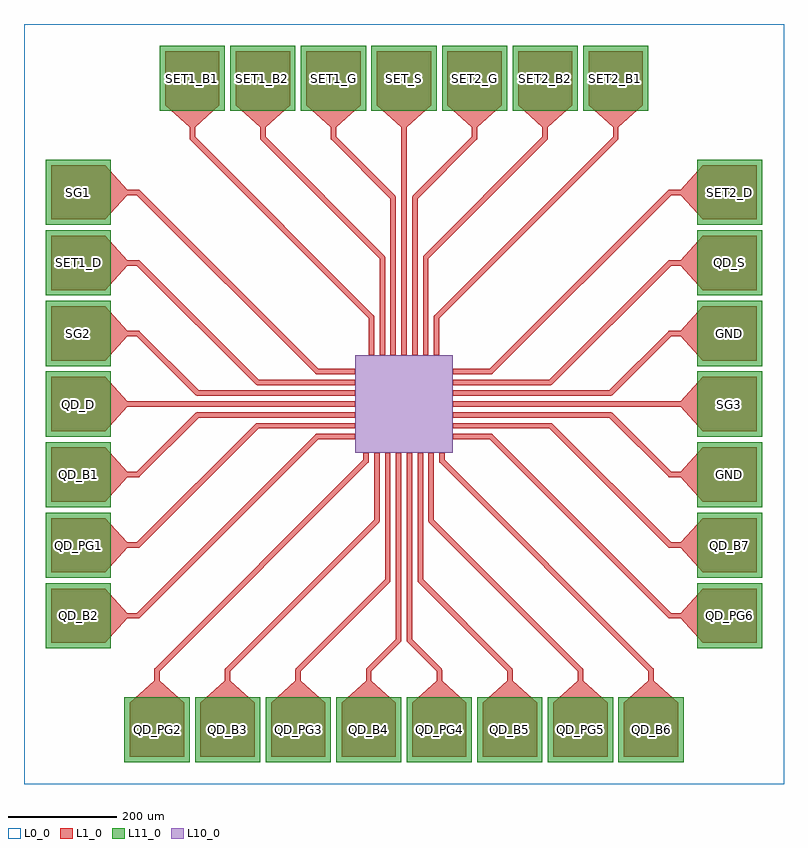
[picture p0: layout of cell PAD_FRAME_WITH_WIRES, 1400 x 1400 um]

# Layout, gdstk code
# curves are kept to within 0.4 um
import gdstk
lib = gdstk.Library(unit=1e-6, precision=1e-09)
def R(c, l, rs):  # rectangles x0, y0, x1, y1
    for r in rs: c.add(gdstk.rectangle(r[:2], r[2:], *l))
def A(c, l, x, y, w, h, nx, ny, dx, dy):  # array of equal rectangles
    R(c, l, [(x+i*dx, y+j*dy, x+i*dx+w, y+j*dy+h) for i in range(nx) for j in range(ny)])
def P(c, l, *ps):  # polygons
    for p in ps: c.add(gdstk.Polygon(p, *l))
L0_0 = (0, 0)
L1_0 = (1, 0)
L10_0 = (10, 0)
L11_0 = (11, 0)

pad_frame_with_wires = lib.new_cell('PAD_FRAME_WITH_WIRES')
R(pad_frame_with_wires, L0_0, [(0,0,1400,1400)])
A(pad_frame_with_wires, L1_0, 195, 50, 100, 100, 8, 1, 130, 0)
A(pad_frame_with_wires, L1_0, 50, 260, 100, 100, 1, 7, 0, 130)
A(pad_frame_with_wires, L1_0, 1250, 260, 100, 100, 1, 7, 0, 130)
A(pad_frame_with_wires, L1_0, 260, 1250, 100, 100, 7, 1, 130, 0)
P(pad_frame_with_wires, L1_0, [(260,1250),(360,1250),(315,1210),(305,1210)],
  [(390,1250),(490,1250),(445,1210),(435,1210)],
  [(520,1250),(620,1250),(575,1210),(565,1210)],
  [(650,1250),(750,1250),(705,1210),(695,1210)],
  [(780,1250),(880,1250),(835,1210),(825,1210)],
  [(910,1250),(1010,1250),(965,1210),(955,1210)],
  [(1040,1250),(1140,1250),(1095,1210),(1085,1210)],
  [(195,150),(295,150),(250,190),(240,190)],
  [(325,150),(425,150),(380,190),(370,190)],
  [(455,150),(555,150),(510,190),(500,190)],
  [(585,150),(685,150),(640,190),(630,190)],
  [(715,150),(815,150),(770,190),(760,190)],
  [(845,150),(945,150),(900,190),(890,190)],
  [(975,150),(1075,150),(1030,190),(1020,190)],
  [(1105,150),(1205,150),(1160,190),(1150,190)],
  [(150,1040),(150,1140),(190,1095),(190,1085)],
  [(150,910),(150,1010),(190,965),(190,955)],
  [(150,780),(150,880),(190,835),(190,825)],
  [(150,650),(150,750),(190,705),(190,695)],
  [(150,520),(150,620),(190,575),(190,565)],
  [(150,390),(150,490),(190,445),(190,435)],
  [(150,260),(150,360),(190,315),(190,305)],
  [(1250,1040),(1250,1140),(1210,1095),(1210,1085)],
  [(1250,910),(1250,1010),(1210,965),(1210,955)],
  [(1250,780),(1250,880),(1210,835),(1210,825)],
  [(1250,650),(1250,750),(1210,705),(1210,695)],
  [(1250,520),(1250,620),(1210,575),(1210,565)],
  [(1250,390),(1250,490),(1210,445),(1210,435)],
  [(1250,260),(1250,360),(1210,315),(1210,305)],
  [(315,1210),(305,1210),(305,1190),(306.464,1186.464),(635,857.929),(635,790),(645,790),(645,860),(643.967,863.044),(315,1192.071)],
  [(445,1210),(435,1210),(435,1190),(436.033,1186.956),(655,967.929),(655,790),(665,790),(665,970),(664.33,972.5),(445,1192.071)],
  [(575,1210),(565,1210),(565,1190),(566.033,1186.956),(675,1077.929),(675,790),(685,790),(684.83,1081.294),(683.536,1083.536),(575,1192.071)],
  [(705,1210),(695,1210),(695,1190),(695,1190),(695,1190),(695,1190),(695,790),(705,790),(705,1190),(705,1190),(705,1190),(705,1190)],
  [(835,1210),(825,1210),(825,1192.071),(716.464,1083.536),(715.17,1081.294),(715,790),(725,790),(725,1077.929),(833.967,1186.956),(835,1190)],
  [(965,1210),(955,1210),(955,1192.071),(735.67,972.5),(735,970),(735,790),(745,790),(745,967.929),(963.536,1186.464),(965,1190)],
  [(1095,1210),(1085,1210),(1085,1192.071),(756.033,863.044),(755,860),(755,790),(765,790),(765,857.929),(1093.536,1186.464),(1095,1190)],
  [(240,190),(250,190),(250,207.929),(633.536,591.464),(634.957,594.347),(635,610),(625,610),(625,597.071),(241.464,213.536),(240,210)],
  [(370,190),(380,190),(380,207.929),(653.967,481.956),(655,485),(655,610),(645,610),(645,487.071),(371.464,213.536),(370,210)],
  [(500,190),(510,190),(510,207.929),(674.619,373.087),(675,610),(665,610),(665,377.071),(501.464,213.536),(500,210)],
  [(630,190),(640,190),(640,207.929),(693.536,261.464),(694.957,264.347),(695,610),(685,610),(685,267.071),(631.033,213.044),(630,210)],
  [(760,190),(770,190),(770,210),(769.33,212.5),(715,267.071),(715,610),(705,610),(705.043,264.347),(706.464,261.464),(760,207.929)],
  [(890,190),(900,190),(900,210),(898.967,213.044),(735,377.071),(735,610),(725,610),(725.381,373.087),(890,207.929)],
  [(1020,190),(1030,190),(1030,210),(1028.536,213.536),(755,487.071),(755,610),(745,610),(745,485),(745.67,482.5),(1020,207.929)],
  [(1150,190),(1160,190),(1160,210),(1158.536,213.536),(775,597.071),(775,610),(765,610),(765.043,594.347),(766.464,591.464),(1150,207.929)],
  [(190,1095),(190,1085),(207.929,1085),(536.956,756.033),(540,755),(610,755),(610,765),(542.071,765),(213.536,1093.536),(210,1095)],
  [(190,965),(190,955),(207.929,955),(427.5,735.67),(430,735),(610,735),(610,745),(432.071,745),(213.536,963.536),(210,965)],
  [(190,835),(190,825),(207.929,825),(316.464,716.464),(318.706,715.17),(610,715),(610,725),(322.071,725),(213.044,833.967),(210,835)],
  [(190,705),(190,695),(210,695),(210,695),(210,695),(210,695),(610,695),(610,705),(210,705),(210,705),(210,705),(210,705)],
  [(190,575),(190,565),(210,565),(213.044,566.033),(322.071,675),(610,675),(610,685),(318.706,684.83),(316.464,683.536),(207.929,575)],
  [(190,445),(190,435),(210,435),(213.044,436.033),(432.071,655),(610,655),(610,665),(430,665),(427.5,664.33),(207.929,445)],
  [(190,315),(190,305),(210,305),(213.536,306.464),(542.071,635),(610,635),(610,645),(540,645),(536.956,643.967),(207.929,315)],
  [(1210,1085),(1210,1095),(1190,1095),(1186.464,1093.536),(857.929,765),(790,765),(790,755),(860,755),(863.044,756.033),(1192.071,1085)],
  [(1210,955),(1210,965),(1190,965),(1186.956,963.967),(967.929,745),(790,745),(790,735),(970,735),(972.5,735.67),(1192.071,955)],
  [(1210,825),(1210,835),(1190,835),(1186.956,833.967),(1077.929,725),(790,725),(790,715),(1081.294,715.17),(1083.536,716.464),(1192.071,825)],
  [(1210,695),(1210,705),(1190,705),(1190,705),(1190,705),(1190,705),(790,705),(790,695),(1190,695),(1190,695),(1190,695),(1190,695)],
  [(1210,565),(1210,575),(1192.071,575),(1083.536,683.536),(1081.294,684.83),(790,685),(790,675),(1077.929,675),(1186.956,566.033),(1190,565)],
  [(1210,435),(1210,445),(1192.071,445),(972.5,664.33),(970,665),(790,665),(790,655),(967.929,655),(1186.464,436.464),(1190,435)],
  [(1210,305),(1210,315),(1192.071,315),(863.044,643.967),(860,645),(790,645),(790,635),(857.929,635),(1186.464,306.464),(1190,305)])
R(pad_frame_with_wires, L10_0, [(610,610,790,790)])
A(pad_frame_with_wires, L11_0, 185, 40, 120, 120, 8, 1, 130, 0)
A(pad_frame_with_wires, L11_0, 40, 250, 120, 120, 1, 7, 0, 130)
A(pad_frame_with_wires, L11_0, 1240, 250, 120, 120, 1, 7, 0, 130)
A(pad_frame_with_wires, L11_0, 250, 1240, 120, 120, 7, 1, 130, 0)
pad_frame_with_wires.add(gdstk.Label('SET1_B1', (310,1300), layer=2, texttype=0))
pad_frame_with_wires.add(gdstk.Label('SET1_B2', (440,1300), layer=2, texttype=0))
pad_frame_with_wires.add(gdstk.Label('SET1_G', (570,1300), layer=2, texttype=0))
pad_frame_with_wires.add(gdstk.Label('SET_S', (700,1300), layer=2, texttype=0))
pad_frame_with_wires.add(gdstk.Label('SET2_G', (830,1300), layer=2, texttype=0))
pad_frame_with_wires.add(gdstk.Label('SET2_B2', (960,1300), layer=2, texttype=0))
pad_frame_with_wires.add(gdstk.Label('SET2_B1', (1090,1300), layer=2, texttype=0))
pad_frame_with_wires.add(gdstk.Label('QD_PG2', (245,100), layer=2, texttype=0))
pad_frame_with_wires.add(gdstk.Label('QD_B3', (375,100), layer=2, texttype=0))
pad_frame_with_wires.add(gdstk.Label('QD_PG3', (505,100), layer=2, texttype=0))
pad_frame_with_wires.add(gdstk.Label('QD_B4', (635,100), layer=2, texttype=0))
pad_frame_with_wires.add(gdstk.Label('QD_PG4', (765,100), layer=2, texttype=0))
pad_frame_with_wires.add(gdstk.Label('QD_B5', (895,100), layer=2, texttype=0))
pad_frame_with_wires.add(gdstk.Label('QD_PG5', (1025,100), layer=2, texttype=0))
pad_frame_with_wires.add(gdstk.Label('QD_B6', (1155,100), layer=2, texttype=0))
pad_frame_with_wires.add(gdstk.Label('SG1', (100,1090), layer=2, texttype=0))
pad_frame_with_wires.add(gdstk.Label('SET1_D', (100,960), layer=2, texttype=0))
pad_frame_with_wires.add(gdstk.Label('SG2', (100,830), layer=2, texttype=0))
pad_frame_with_wires.add(gdstk.Label('QD_D', (100,700), layer=2, texttype=0))
pad_frame_with_wires.add(gdstk.Label('QD_B1', (100,570), layer=2, texttype=0))
pad_frame_with_wires.add(gdstk.Label('QD_PG1', (100,440), layer=2, texttype=0))
pad_frame_with_wires.add(gdstk.Label('QD_B2', (100,310), layer=2, texttype=0))
pad_frame_with_wires.add(gdstk.Label('SET2_D', (1300,1090), layer=2, texttype=0))
pad_frame_with_wires.add(gdstk.Label('QD_S', (1300,960), layer=2, texttype=0))
pad_frame_with_wires.add(gdstk.Label('GND', (1300,830), layer=2, texttype=0))
pad_frame_with_wires.add(gdstk.Label('SG3', (1300,700), layer=2, texttype=0))
pad_frame_with_wires.add(gdstk.Label('GND', (1300,570), layer=2, texttype=0))
pad_frame_with_wires.add(gdstk.Label('QD_B7', (1300,440), layer=2, texttype=0))
pad_frame_with_wires.add(gdstk.Label('QD_PG6', (1300,310), layer=2, texttype=0))

lib.write_gds('PAD_FRAME_WITH_WIRES.gds')
